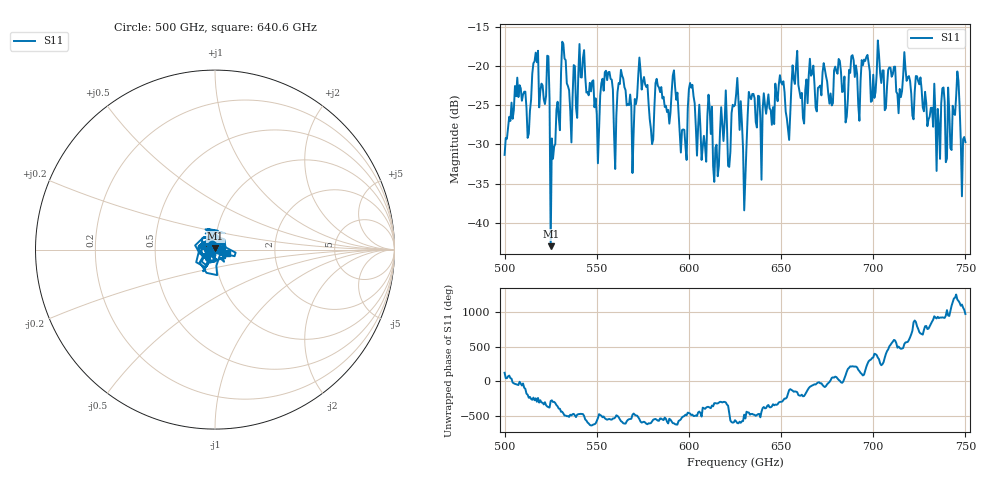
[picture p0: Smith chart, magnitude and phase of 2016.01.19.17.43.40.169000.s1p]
!Created with skrf (http://scikit-rf.org).
# GHz S RI R 50.0
!freq ReS11 ImS11
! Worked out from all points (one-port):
!   401 points, 500 GHz to 750 GHz, reference 50 ohm
!   lowest |S11| = -42.9 dB at 525 GHz (marker M1), VSWR 1.01, Z = 50.2 + j0.678 ohm
!   |S11| at or under -10 dB: start of sweep to end of sweep
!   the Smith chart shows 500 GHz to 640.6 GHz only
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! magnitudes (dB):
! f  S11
! 500 GHz  -31.3
! 506.9 GHz  -21.5
! 513.1 GHz  -28.6
! 516.9 GHz  -18.3
! 523.1 GHz  -18.7
! 525 GHz  -42.9
! 526.2 GHz  -31.8
! 531.2 GHz  -16.9
! 535.6 GHz  -25.7
! 541.9 GHz  -21.5
! 550 GHz  -26.2
! 562.5 GHz  -22.3
! 568.8 GHz  -25.2
! 593.8 GHz  -23.4
! 597.5 GHz  -28.1
! 601.2 GHz  -22.8
! 608.1 GHz  -28.9
! 611.2 GHz  -25.3
! 615 GHz  -30.0
! 625 GHz  -25.0
! 630 GHz  -38.4
! 633.8 GHz  -24.2
! 656.2 GHz  -19.9
! 687.5 GHz  -20.9
! 718.8 GHz  -21.5
! 735 GHz  -25.5
! 745.6 GHz  -20.7
! 750 GHz  -29.7
